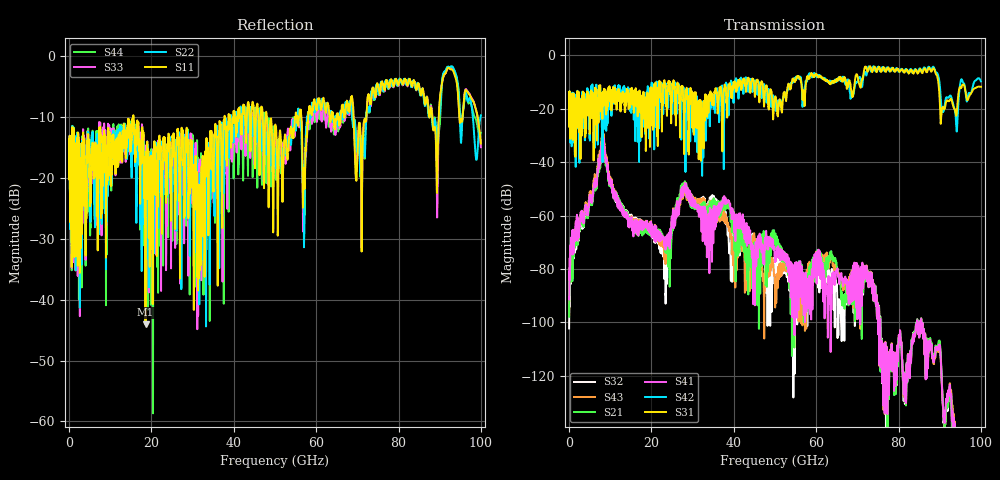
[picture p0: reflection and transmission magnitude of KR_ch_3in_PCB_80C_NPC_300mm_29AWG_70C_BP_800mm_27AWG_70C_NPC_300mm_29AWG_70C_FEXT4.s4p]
# GHz S RI R 45
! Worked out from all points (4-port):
!   4000 points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, 25 MHz to 100 GHz, reference 45 ohm
!   strongest paths, dB at 25 MHz, 25.02 GHz, 50.02 GHz, 75.03 GHz, 100 GHz:
!     S31: -20.0, -14.3, -16.0, -5.1, -11.8
!     S42: -20.0, -17.9, -18.0, -4.4, -9.7
!     S41: -90.7, -61.9, -76.3, -101.3, -180.0
!     S21: -97.9, -63.6, -68.8, -100.4, -179.5
!     S43: -97.0, -61.6, -92.8, -101.3, -177.7
!     S32: -102.3, -62.2, -77.6, -100.3, -178.3
!   lowest |S11| = -44.1 dB at 18.57 GHz (marker M1), VSWR 1.01, Z = 45.5 + j0.247 ohm
!   |S11| at or under -10 dB: start of sweep to 15.61 GHz; 15.64 GHz to 37.74 GHz (22.1 GHz wide, 82.8 % of centre); 48.05 GHz to 54.87 GHz (6.811 GHz wide, 13.2 % of centre) (the widest 3 of 30)
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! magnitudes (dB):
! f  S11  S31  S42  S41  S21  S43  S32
! 25 MHz  -16.0  -20.0  -20.0  -90.7  -97.9  -97.0  -102.3
! 8.2 GHz  -18.1  -17.7  -28.5  -31.2  -33.0  -29.3  -30.8
! 18.57 GHz  -44.1  -20.9  -22.5  -62.8  -65.0  -62.9  -63.3
! 23.6 GHz  -24.1  -19.1  -12.8  -68.0  -70.0  -71.4  -78.2
! 27.95 GHz  -24.9  -37.0  -13.6  -50.7  -49.8  -51.7  -50.9
! 45.77 GHz  -7.9  -9.1  -14.7  -75.9  -84.8  -70.1  -78.8
! 100 GHz  -14.3  -11.8  -9.7  -180.0  -179.5  -177.7  -178.3
